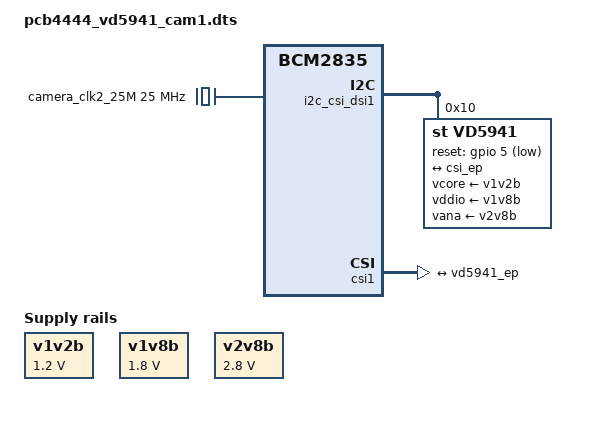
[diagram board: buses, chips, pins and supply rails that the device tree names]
// SPDX-License-Identifier: GPL-2.0-only
/dts-v1/;
/plugin/;

/{
	compatible = "brcm,bcm2835";

	fragment@0 {
		target-path="/";
		__overlay__ {
			camera_clk2_25M: camera_clk2_25M {
				#clock-cells = <0>;
				compatible = "fixed-clock";
				clock-frequency = <25000000>;
			};

			v1v2b: v1v2b {
				compatible = "regulator-fixed";
				regulator-name = "fixed-supply-1v2";
				regulator-min-microvolt = <1200000>;
				regulator-max-microvolt = <1200000>;
			};

			v1v8b: v1v8b {
				compatible = "regulator-fixed";
				regulator-name = "fixed-supply-1v8";
				regulator-min-microvolt = <1800000>;
				regulator-max-microvolt = <1800000>;
			};

			v2v8b: v2v8b {
				compatible = "regulator-fixed";
				regulator-name = "fixed-supply-2v8";
				regulator-min-microvolt = <2800000>;
				regulator-max-microvolt = <2800000>;
			};
		};
	};

	fragment@1 {
		target = <&i2c_csi_dsi1>;
		__overlay__ {
			#address-cells = <1>;
			#size-cells = <0>;
			status = "okay";

			vd5941: vd5941@10 {
				status = "ok";
				compatible = "st,vd5941";
				reg = <0x10>;

				clocks = <&camera_clk2_25M>;
				clock-names = "xclk";

				vcore-supply = <&v1v2b>;
				vddio-supply = <&v1v8b>;
				vana-supply = <&v2v8b>;

				reset-gpios = <&gpio 5 1>;

				orientation = <2>;
				rotation = <0>;

				port {
					vd5941_ep: endpoint {
						clock-lanes = <0>;
						data-lanes = <1 2>;
						remote-endpoint = <&csi_ep>;
						clock-noncontinuous;
						link-frequencies = /bits/ 64 <750000000>;
						lane-polarities = <1 1 1>;
					};
				};
			};
		};
	};

	fragment@2 {
		target = <&csi1>;
		csi: __overlay__ {
			status = "okay";
			brcm,media-controller;

			port {
				csi_ep: endpoint {
					remote-endpoint = <&vd5941_ep>;
					clock-lanes = <0>;
					data-lanes = <1 2>;
					clock-noncontinuous;
				};
			};
		};
	};

	fragment@3 {
		target = <&cam1_reg>;
		__overlay__ {
			status = "disable";
		};
	};

	fragment@4 {
		target-path="/__overrides__";
		__overlay__ {
			cam1-pwdn-ctrl = <&vd5941>,"reset-gpios:0";
			cam1-pwdn      = <&vd5941>,"reset-gpios:4";
			media-controller = <&csi1>,"brcm,media-controller?";
		};
	};
};
